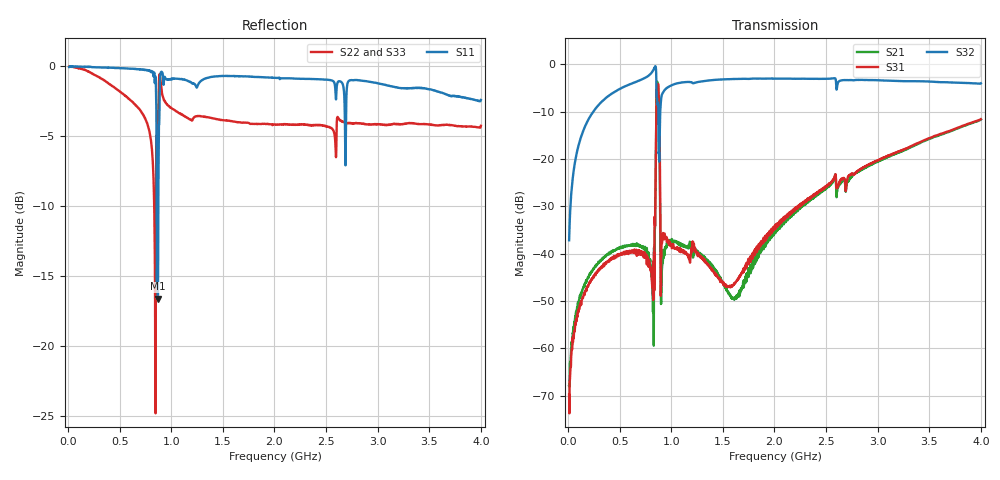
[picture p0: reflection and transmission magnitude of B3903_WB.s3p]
! Matrix data file written by TouchstoneData, EPCOS AG
! FILENAME: "LY02A_4_WB.s3p_newformat"
! COMMENT: "(LY02A_4_WB.s3p) EPCOS AG 30.07.2009 10:12:1"
! INFO: nport=3, nfreq=1601
! DATE: "Fri Aug  7 16:54:54 2009"
! USER: "Michael Schemies"
! port | pin | signal
!  1  |  2  |  in
!  2  |  4  |  out
!  3  |  6  |  out
# MHZ S MA R 50
! freq  magS11 angS11  magS12 angS12  magS13 angS13  ...
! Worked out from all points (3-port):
!   1601 points, 10 MHz to 4 GHz, reference 50 ohm
!   strongest paths, dB at 10 MHz, 1.008 GHz, 2.005 GHz, 3.002 GHz, 4 GHz:
!     S32: -37.2, -4.4, -3.0, -3.4, -4.0
!     S31: -69.8, -38.8, -34.4, -20.3, -11.6
!     S21: -68.0, -37.0, -35.2, -20.6, -11.7
!   lowest |S11| = -16.6 dB at 870.3 MHz (marker M1), VSWR 1.35, Z = 39.4 + j7.93 ohm
!   |S11| at or under -10 dB: 858.5 MHz to 874.6 MHz (16.1 MHz wide, 1.86 % of centre)
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10  0.9956 -1.7  0.00032 78.4  0.0002983 67.9
    0.0003995 83.3  0.9978 -1.6  0.01398 88.3
    0.0003239 69.1  0.01385 87.8  0.9962 -1.6
89.8  0.9982 -10.7  0.002674 81.5  0.002139 81.9
      0.002651 81.6  0.9865 -10.8  0.1237 78.7
      0.002133 82.8  0.1234 78.6  0.989 -11.0
274.3375  0.991 -31.5  0.00766 66.6  0.006352 70.3
          0.007683 66.7  0.9245 -31.6  0.3496 58.0
          0.00633 70.9  0.3488 58.2  0.9282 -31.6
817.975  0.9482 -111.0  0.003673 -0.2  0.00612 67.4
         0.003667 0.3  0.4739 -91.5  0.8461 -3.3
         0.006089 67.7  0.8433 -3.3  0.4756 -91.4
870.3438  0.1477 138.2  0.61 -22.1  0.6171 149.0
          0.6103 -22.0  0.6028 -23.7  0.3895 -43.2
          0.6162 149.0  0.3885 -43.3  0.5884 -37.2
915.2313  0.9446 -56.6  0.007909 65.3  0.01549 41.0
          0.007881 65.4  0.7881 -65.4  0.4951 18.2
          0.01541 41.1  0.494 18.0  0.7918 -65.1
1179.569  0.8803 -100.8  0.01338 29.5  0.008292 45.5
          0.01338 29.6  0.6464 -87.4  0.6514 -4.1
          0.008275 45.3  0.6504 -4.1  0.6512 -86.7
1615.975  0.9221 -124.9  0.003427 82.1  0.004908 100.2
          0.003439 82.3  0.6339 -108.4  0.7011 -20.2
          0.004879 100.3  0.7002 -20.2  0.6384 -107.4
2005  0.9097 -144.1  0.01744 143.2  0.01897 135.7
      0.01746 143.2  0.6194 -122.9  0.7083 -34.4
      0.01895 135.5  0.7061 -34.5  0.624 -121.4
4000  0.758 117.1  0.2619 71.0  0.2675 70.2
      0.2614 68.8  0.613 171.9  0.6372 -95.8
      0.2632 67.2  0.6295 -96.5  0.6179 170.3
